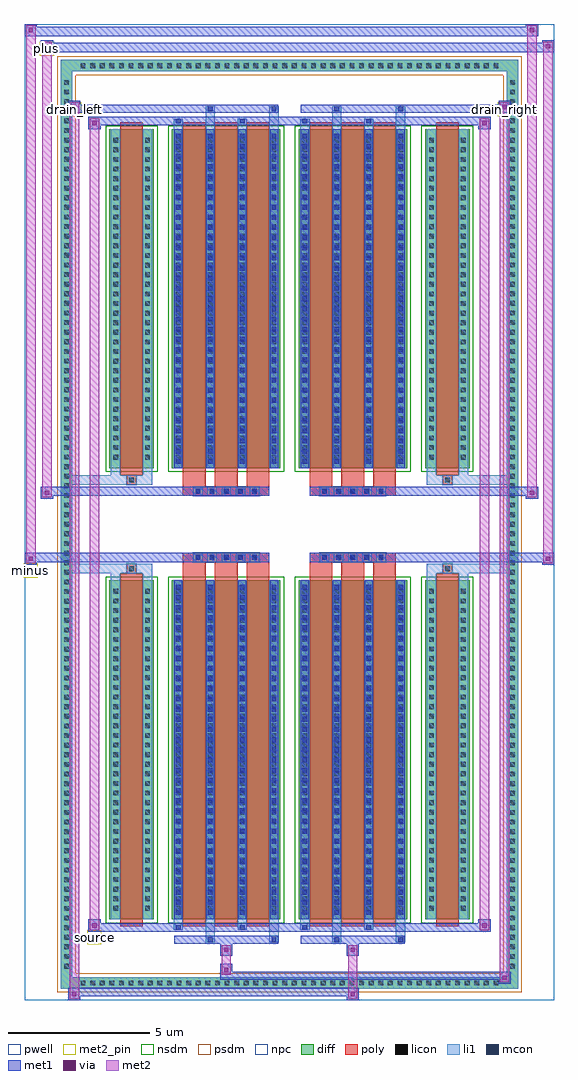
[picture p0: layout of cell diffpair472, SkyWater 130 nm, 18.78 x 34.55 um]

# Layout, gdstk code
import gdstk
lib = gdstk.Library(unit=1e-6, precision=5e-09)
def R(c, l, rs):  # rectangles x0, y0, x1, y1
    for r in rs: c.add(gdstk.rectangle(r[:2], r[2:], *l))
def A(c, l, x, y, w, h, nx, ny, dx, dy):  # array of equal rectangles
    R(c, l, [(x+i*dx, y+j*dy, x+i*dx+w, y+j*dy+h) for i in range(nx) for j in range(ny)])
def P(c, l, *ps):  # polygons
    for p in ps: c.add(gdstk.Polygon(p, *l))
pwell = (64, 44)
diff = (65, 20)
poly = (66, 20)
licon = (66, 44)
li1 = (67, 20)
mcon = (67, 44)
met1 = (68, 20)
via = (68, 44)
met2_pin = (69, 16)
met2 = (69, 20)
nsdm = (93, 44)
psdm = (94, 20)
npc = (95, 20)

diffpair472 = lib.new_cell('diffpair472')
R(diffpair472, pwell, [(-9.37,-16.84,9.37,17.71), (-6.69,-15.03,-0.01,-0.805), (0.01,-15.03,6.69,-0.805), (-6.69,0.805,-0.01,15.03), (0.01,0.805,6.69,15.03)])
A(diffpair472, diff, -7.515, -16.44, 0.41, 0.41, 44, 2, 0.34, 32.47)
A(diffpair472, diff, -8.1, -15.845, 0.41, 0.41, 1, 93, 0, 0.34)
A(diffpair472, diff, 7.69, -15.845, 0.41, 0.41, 1, 93, 0, 0.34)
R(diffpair472, diff, [(-7.515,-16.44,7.515,-16.03), (-8.1,-15.845,-7.69,15.845), (7.69,-15.845,8.1,15.845), (-6.38,-13.985,-4.8,-1.985), (-4.16,-13.985,-0.32,-1.985), (0.32,-13.985,4.16,-1.985), (4.8,-13.985,6.38,-1.985), (-6.38,1.985,-4.8,13.985), (-4.16,1.985,-0.32,13.985), (0.32,1.985,4.16,13.985), (4.8,1.985,6.38,13.985), (-7.515,16.03,7.515,16.44)])
P(diffpair472, diff, [(8.1,16.44),(-8.1,16.44),(-8.1,-16.03),(-7.69,-16.03),(-7.69,16.03),(7.69,16.03),(7.69,-16.03),(-7.69,-16.03),(-8.1,-16.03),(-8.1,-16.44),(8.1,-16.44)])
A(diffpair472, poly, -3.77, -14.235, 0.8, 12.5, 3, 2, 1.13, 15.97)
A(diffpair472, poly, 0.71, -14.235, 0.8, 12.5, 3, 2, 1.13, 15.97)
A(diffpair472, poly, -3.77, -1.735, 0.8, 0.4, 3, 2, 1.13, 3.07)
A(diffpair472, poly, 0.71, -1.735, 0.8, 0.4, 3, 2, 1.13, 3.07)
A(diffpair472, poly, -3.405, -1.335, 0.33, 0.33, 5, 2, 0.5, 2.34)
A(diffpair472, poly, 1.075, -1.335, 0.33, 0.33, 5, 2, 0.5, 2.34)
R(diffpair472, poly, [(-5.99,-14.235,-5.19,-1.735), (5.19,-14.235,5.99,-1.735), (-5.755,-1.735,-5.425,-1.405), (-5.755,-1.735,-5.425,-1.405), (5.425,-1.735,5.755,-1.405), (5.425,-1.735,5.755,-1.405), (-3.77,-1.335,-0.71,-1.005), (0.71,-1.335,3.77,-1.005), (-3.77,1.005,-0.71,1.335), (0.71,1.005,3.77,1.335), (-5.755,1.405,-5.425,1.735), (-5.755,1.405,-5.425,1.735), (5.425,1.405,5.755,1.735), (5.425,1.405,5.755,1.735), (-5.99,1.735,-5.19,14.235), (5.19,1.735,5.99,14.235)])
A(diffpair472, licon, -7.395, -16.32, 0.17, 0.17, 44, 2, 0.34, 32.47)
A(diffpair472, licon, -7.98, -15.725, 0.17, 0.17, 1, 93, 0, 0.34)
A(diffpair472, licon, 7.81, -15.725, 0.17, 0.17, 1, 93, 0, 0.34)
A(diffpair472, licon, -6.24, -13.68, 0.17, 0.17, 1, 34, 0, 0.34)
A(diffpair472, licon, -5.11, -13.68, 0.17, 0.17, 1, 34, 0, 0.34)
A(diffpair472, licon, -4.02, -13.68, 0.17, 0.17, 4, 34, 1.13, 0.34)
A(diffpair472, licon, 0.46, -13.68, 0.17, 0.17, 4, 34, 1.13, 0.34)
A(diffpair472, licon, 4.94, -13.68, 0.17, 0.17, 1, 34, 0, 0.34)
A(diffpair472, licon, 6.07, -13.68, 0.17, 0.17, 1, 34, 0, 0.34)
A(diffpair472, licon, -3.325, -1.255, 0.17, 0.17, 5, 2, 0.5, 2.34)
A(diffpair472, licon, 1.155, -1.255, 0.17, 0.17, 5, 2, 0.5, 2.34)
A(diffpair472, licon, -6.24, 2.29, 0.17, 0.17, 1, 34, 0, 0.34)
A(diffpair472, licon, -5.11, 2.29, 0.17, 0.17, 1, 34, 0, 0.34)
A(diffpair472, licon, -4.02, 2.29, 0.17, 0.17, 4, 34, 1.13, 0.34)
A(diffpair472, licon, 0.46, 2.29, 0.17, 0.17, 4, 34, 1.13, 0.34)
A(diffpair472, licon, 4.94, 2.29, 0.17, 0.17, 1, 34, 0, 0.34)
A(diffpair472, licon, 6.07, 2.29, 0.17, 0.17, 1, 34, 0, 0.34)
R(diffpair472, licon, [(-5.675,-1.655,-5.505,-1.485), (5.505,-1.655,5.675,-1.485), (-5.675,1.485,-5.505,1.655), (5.505,1.485,5.675,1.655)])
A(diffpair472, li1, -7.475, -16.4, 0.33, 0.33, 44, 2, 0.34, 32.47)
A(diffpair472, li1, -8.06, -15.805, 0.33, 0.33, 1, 93, 0, 0.34)
A(diffpair472, li1, 7.73, -15.805, 0.33, 0.33, 1, 93, 0, 0.34)
A(diffpair472, li1, -4.1, -13.985, 0.33, 12, 4, 2, 1.13, 15.97)
A(diffpair472, li1, 0.38, -13.985, 0.33, 12, 4, 2, 1.13, 15.97)
A(diffpair472, li1, -4.02, -13.83, 0.17, 0.17, 4, 33, 1.13, 0.36)
A(diffpair472, li1, -4.02, -13.83, 0.17, 11.69, 4, 2, 1.13, 15.97)
A(diffpair472, li1, 0.46, -13.83, 0.17, 0.17, 4, 33, 1.13, 0.36)
A(diffpair472, li1, 0.46, -13.83, 0.17, 11.69, 4, 2, 1.13, 15.97)
A(diffpair472, li1, -6.32, -13.76, 0.33, 0.33, 1, 34, 0, 0.34)
A(diffpair472, li1, -5.19, -13.76, 0.33, 0.33, 1, 34, 0, 0.34)
A(diffpair472, li1, -4.1, -13.76, 0.33, 0.33, 4, 34, 1.13, 0.34)
A(diffpair472, li1, 0.38, -13.76, 0.33, 0.33, 4, 34, 1.13, 0.34)
A(diffpair472, li1, 4.86, -13.76, 0.33, 0.33, 1, 34, 0, 0.34)
A(diffpair472, li1, 5.99, -13.76, 0.33, 0.33, 1, 34, 0, 0.34)
A(diffpair472, li1, -3.405, -1.335, 0.33, 0.33, 5, 2, 0.5, 2.34)
A(diffpair472, li1, 1.075, -1.335, 0.33, 0.33, 5, 2, 0.5, 2.34)
A(diffpair472, li1, -4.02, 2.14, 0.17, 0.17, 4, 33, 1.13, 0.36)
A(diffpair472, li1, 0.46, 2.14, 0.17, 0.17, 4, 33, 1.13, 0.36)
A(diffpair472, li1, -6.32, 2.21, 0.33, 0.33, 1, 34, 0, 0.34)
A(diffpair472, li1, -5.19, 2.21, 0.33, 0.33, 1, 34, 0, 0.34)
A(diffpair472, li1, -4.1, 2.21, 0.33, 0.33, 4, 34, 1.13, 0.34)
A(diffpair472, li1, 0.38, 2.21, 0.33, 0.33, 4, 34, 1.13, 0.34)
A(diffpair472, li1, 4.86, 2.21, 0.33, 0.33, 1, 34, 0, 0.34)
A(diffpair472, li1, 5.99, 2.21, 0.33, 0.33, 1, 34, 0, 0.34)
R(diffpair472, li1, [(-8.1,-16.44,-7.69,-16.03), (-8.1,-16.44,-7.69,-16.03), (-7.69,-16.44,7.69,-16.03), (7.69,-16.44,8.1,-16.03), (7.69,-16.44,8.1,-16.03), (-8.1,-16.03,-7.69,16.03), (7.69,-16.03,8.1,16.03), (-2.97,-14.79,-2.64,-13.985), (-2.89,-14.79,-2.72,-14.62), (-0.71,-14.79,-0.38,-13.985), (-0.63,-14.79,-0.46,-14.62), (1.51,-14.79,1.84,-13.985), (1.59,-14.79,1.76,-14.62), (3.77,-14.79,4.1,-13.985), (3.85,-14.79,4.02,-14.62), (-4.1,-14.36,-3.77,-13.985), (-4.02,-14.36,-3.85,-14.19), (-1.84,-14.36,-1.51,-13.985), (-1.76,-14.36,-1.59,-14.19), (0.38,-14.36,0.71,-13.985), (0.46,-14.36,0.63,-14.19), (2.64,-14.36,2.97,-13.985), (2.72,-14.36,2.89,-14.19), (-6.32,-13.985,-5.99,-1.985), (-5.19,-13.985,-4.86,-1.985), (4.86,-13.985,5.19,-1.985), (5.99,-13.985,6.32,-1.985), (-6.32,-1.985,-5.99,-1.405), (-5.19,-1.985,-4.86,-1.405), (4.86,-1.985,5.19,-1.405), (5.99,-1.985,6.32,-1.405), (-8.1,-1.735,-5.755,-1.405), (-6.32,-1.735,-5.755,-1.405), (-5.755,-1.735,-5.425,-1.405), (-5.425,-1.735,-4.86,-1.405), (4.86,-1.735,5.425,-1.405), (5.425,-1.735,5.755,-1.405), (5.425,-1.735,8.1,-1.405), (5.755,-1.735,6.32,-1.405), (-8.1,1.405,-5.755,1.735), (-6.32,1.405,-5.755,1.735), (-6.32,1.405,-5.99,1.985), (-5.755,1.405,-5.425,1.735), (-5.425,1.405,-4.86,1.735), (-5.19,1.405,-4.86,1.985), (4.86,1.405,5.425,1.735), (4.86,1.405,5.19,1.985), (5.425,1.405,5.755,1.735), (5.425,1.405,8.1,1.735), (5.755,1.405,6.32,1.735), (5.99,1.405,6.32,1.985), (-6.32,1.985,-5.99,13.985), (-5.19,1.985,-4.86,13.985), (4.86,1.985,5.19,13.985), (5.99,1.985,6.32,13.985), (-4.1,13.985,-3.77,14.36), (-2.97,13.985,-2.64,14.79), (-1.84,13.985,-1.51,14.36), (-0.71,13.985,-0.38,14.79), (0.38,13.985,0.71,14.36), (1.51,13.985,1.84,14.79), (2.64,13.985,2.97,14.36), (3.77,13.985,4.1,14.79), (-4.02,14.19,-3.85,14.36), (-1.76,14.19,-1.59,14.36), (0.46,14.19,0.63,14.36), (2.72,14.19,2.89,14.36), (-2.89,14.62,-2.72,14.79), (-0.63,14.62,-0.46,14.79), (1.59,14.62,1.76,14.79), (3.85,14.62,4.02,14.79), (-8.1,16.03,-7.69,16.44), (-8.1,16.03,-7.69,16.44), (-7.69,16.03,7.69,16.44), (7.69,16.03,8.1,16.44), (7.69,16.03,8.1,16.44)])
A(diffpair472, mcon, -4.02, -13.83, 0.17, 0.17, 4, 33, 1.13, 0.36)
A(diffpair472, mcon, 0.46, -13.83, 0.17, 0.17, 4, 33, 1.13, 0.36)
A(diffpair472, mcon, -3.325, -1.255, 0.17, 0.17, 5, 2, 0.5, 2.34)
A(diffpair472, mcon, 1.155, -1.255, 0.17, 0.17, 5, 2, 0.5, 2.34)
A(diffpair472, mcon, -4.02, 2.14, 0.17, 0.17, 4, 33, 1.13, 0.36)
A(diffpair472, mcon, 0.46, 2.14, 0.17, 0.17, 4, 33, 1.13, 0.36)
R(diffpair472, mcon, [(-2.89,-14.79,-2.72,-14.62), (-0.63,-14.79,-0.46,-14.62), (1.59,-14.79,1.76,-14.62), (3.85,-14.79,4.02,-14.62), (-4.02,-14.36,-3.85,-14.19), (-1.76,-14.36,-1.59,-14.19), (0.46,-14.36,0.63,-14.19), (2.72,-14.36,2.89,-14.19), (-4.02,14.19,-3.85,14.36), (-1.76,14.19,-1.59,14.36), (0.46,14.19,0.63,14.36), (2.72,14.19,2.89,14.36), (-2.89,14.62,-2.72,14.79), (-0.63,14.62,-0.46,14.79), (1.59,14.62,1.76,14.79), (3.85,14.62,4.02,14.79)])
A(diffpair472, met1, -4.08, -13.985, 0.29, 12, 4, 2, 1.13, 15.97)
A(diffpair472, met1, 0.4, -13.985, 0.29, 12, 4, 2, 1.13, 15.97)
A(diffpair472, met1, -4.08, -13.89, 0.29, 0.29, 4, 33, 1.13, 0.36)
A(diffpair472, met1, 0.4, -13.89, 0.29, 0.29, 4, 33, 1.13, 0.36)
A(diffpair472, met1, -3.385, -1.315, 0.29, 0.29, 5, 2, 0.5, 2.34)
A(diffpair472, met1, 1.095, -1.315, 0.29, 0.29, 5, 2, 0.5, 2.34)
A(diffpair472, met1, -4.08, 2.08, 0.29, 0.29, 4, 33, 1.13, 0.36)
A(diffpair472, met1, 0.4, 2.08, 0.29, 0.29, 4, 33, 1.13, 0.36)
R(diffpair472, met1, [(-7.83,-16.84,-7.4,-16.41), (2.025,-16.84,2.455,-16.41), (-7.83,-16.7,2.455,-16.41), (7.4,-16.27,7.83,-15.84), (-2.455,-16.13,7.83,-15.84), (-2.455,-15.99,-2.025,-15.56), (-2.455,-15.28,-2.025,-14.85), (2.025,-15.28,2.455,-14.85), (-4.08,-14.85,-0.4,-14.56), (-2.95,-14.85,-2.66,-14.56), (-0.69,-14.85,-0.4,-14.56), (0.4,-14.85,4.08,-14.56), (1.53,-14.85,1.82,-14.56), (3.79,-14.85,4.08,-14.56), (-7.12,-14.42,-6.69,-13.99), (-7.12,-14.42,-4.08,-14.13), (-4.08,-14.42,-3.79,-14.13), (-4.08,-14.42,-0.4,-14.13), (-1.82,-14.42,-1.53,-14.13), (-0.4,-14.42,0.4,-14.13), (0.4,-14.42,0.69,-14.13), (0.4,-14.42,4.08,-14.13), (2.66,-14.42,2.95,-14.13), (4.08,-14.42,7.12,-14.13), (6.69,-14.42,7.12,-13.99), (-9.37,-1.435,-8.94,-1.005), (8.94,-1.435,9.37,-1.005), (-9.37,-1.335,-0.71,-1.005), (-3.77,-1.335,-0.71,-1.005), (0.71,-1.335,3.77,-1.005), (0.71,-1.335,9.37,-1.005), (-8.8,0.905,-8.37,1.335), (8.37,0.905,8.8,1.335), (-8.8,1.005,-3.77,1.335), (-3.77,1.005,-0.71,1.335), (0.71,1.005,3.77,1.335), (3.77,1.005,8.8,1.335), (-7.12,13.99,-6.69,14.42), (6.69,13.99,7.12,14.42), (-7.12,14.13,-4.08,14.42), (-4.08,14.13,-3.79,14.42), (-4.08,14.13,-0.4,14.42), (-1.82,14.13,-1.53,14.42), (-0.4,14.13,0.4,14.42), (0.4,14.13,0.69,14.42), (0.4,14.13,4.08,14.42), (2.66,14.13,2.95,14.42), (4.08,14.13,7.12,14.42), (-7.83,14.56,-7.4,14.99), (-7.83,14.56,-4.08,14.85), (-4.08,14.56,-0.4,14.85), (-2.95,14.56,-2.66,14.85), (-0.69,14.56,-0.4,14.85), (0.4,14.56,4.08,14.85), (1.53,14.56,1.82,14.85), (3.79,14.56,4.08,14.85), (4.08,14.56,7.83,14.85), (7.4,14.56,7.83,14.99), (-8.8,16.71,-8.37,17.14), (-8.8,16.71,-6.69,17.04), (-6.69,16.71,6.69,17.04), (6.69,16.71,9.37,17.04), (8.94,16.71,9.37,17.14), (-9.37,17.28,-8.94,17.71), (-9.37,17.28,-6.69,17.61), (-6.69,17.28,6.69,17.61), (6.69,17.28,8.8,17.61), (8.37,17.28,8.8,17.71)])
R(diffpair472, via, [(-7.69,-16.7,-7.54,-16.55), (2.165,-16.7,2.315,-16.55), (7.54,-16.13,7.69,-15.98), (-2.315,-15.85,-2.165,-15.7), (-2.315,-15.14,-2.165,-14.99), (2.165,-15.14,2.315,-14.99), (-6.98,-14.28,-6.83,-14.13), (6.83,-14.28,6.98,-14.13), (-9.23,-1.295,-9.08,-1.145), (9.08,-1.295,9.23,-1.145), (-8.66,1.045,-8.51,1.195), (8.51,1.045,8.66,1.195), (-6.98,14.13,-6.83,14.28), (6.83,14.13,6.98,14.28), (-7.69,14.7,-7.54,14.85), (7.54,14.7,7.69,14.85), (-8.66,16.85,-8.51,17), (9.08,16.85,9.23,17), (-9.23,17.42,-9.08,17.57), (8.51,17.42,8.66,17.57)])
R(diffpair472, met2_pin, [(-7.155,-14.87,-6.655,-14.37), (-9.405,-1.885,-8.905,-1.385), (-7.865,14.44,-7.365,14.94), (7.365,14.44,7.865,14.94), (-8.835,16.59,-8.335,17.09)])
R(diffpair472, met2, [(-7.78,-16.79,-7.45,-16.46), (-7.78,-16.79,-7.45,14.94), (2.075,-16.79,2.405,-16.46), (2.075,-16.46,2.405,-15.23), (7.45,-16.22,7.78,-15.89), (7.45,-16.22,7.78,14.94), (-2.405,-15.94,-2.075,-15.61), (-2.405,-15.61,-2.075,-15.23), (-2.405,-15.23,-2.075,-14.9), (2.075,-15.23,2.405,-14.9), (-7.07,-14.37,-6.74,-14.04), (-7.07,-14.37,-6.74,14.37), (6.74,-14.37,7.07,-14.04), (6.74,-14.37,7.07,14.37), (-9.32,-1.385,-8.99,-1.055), (-9.32,-1.385,-8.99,17.66), (8.99,-1.385,9.32,-1.055), (8.99,-1.385,9.32,17.09), (-8.75,0.955,-8.42,1.285), (-8.75,0.955,-8.42,17.09), (8.42,0.955,8.75,1.285), (8.42,0.955,8.75,17.66), (-7.07,14.04,-6.74,14.37), (6.74,14.04,7.07,14.37), (-7.78,14.61,-7.45,14.94), (7.45,14.61,7.78,14.94), (-8.75,16.76,-8.42,17.09), (8.99,16.76,9.32,17.09), (-9.32,17.33,-8.99,17.66), (8.42,17.33,8.75,17.66)])
P(diffpair472, met2, [(9.32,-1.385),(9.32,-1.385),(9.32,-1.055),(9.32,-1.055)],
  [(9.32,16.76),(9.32,16.76),(9.32,17.09),(9.32,17.09)],
  [(-8.99,-1.385),(-8.99,-1.385),(-8.99,-1.055),(-8.99,-1.055)],
  [(-8.99,17.33),(-8.99,17.33),(-8.99,17.66),(-8.99,17.66)],
  [(8.75,0.955),(8.75,0.955),(8.75,1.285),(8.75,1.285)],
  [(8.75,17.33),(8.75,17.33),(8.75,17.66),(8.75,17.66)],
  [(-8.42,0.955),(-8.42,0.955),(-8.42,1.285),(-8.42,1.285)],
  [(-8.42,16.76),(-8.42,16.76),(-8.42,17.09),(-8.42,17.09)],
  [(-7.45,-16.79),(-7.45,-16.79),(-7.45,-16.46),(-7.45,-16.46)],
  [(-7.45,14.61),(-7.45,14.61),(-7.45,14.94),(-7.45,14.94)],
  [(7.78,-16.22),(7.78,-16.22),(7.78,-15.89),(7.78,-15.89)],
  [(7.78,14.61),(7.78,14.61),(7.78,14.94),(7.78,14.94)],
  [(-6.74,-14.37),(-6.74,-14.37),(-6.74,-14.04),(-6.74,-14.04)],
  [(-6.74,14.04),(-6.74,14.04),(-6.74,14.37),(-6.74,14.37)],
  [(7.07,-14.37),(7.07,-14.37),(7.07,-14.04),(7.07,-14.04)],
  [(7.07,14.04),(7.07,14.04),(7.07,14.37),(7.07,14.37)])
R(diffpair472, nsdm, [(-6.51,-14.115,-4.67,-1.855), (-4.29,-14.115,-0.19,-1.855), (0.19,-14.115,4.29,-1.855), (4.67,-14.115,6.51,-1.855), (-6.51,1.855,-4.67,14.115), (-4.29,1.855,-0.19,14.115), (0.19,1.855,4.29,14.115), (4.67,1.855,6.51,14.115)])
P(diffpair472, psdm, [(8.23,16.57),(-8.23,16.57),(-8.23,-15.9),(-7.56,-15.9),(-7.56,15.9),(7.56,15.9),(7.56,-15.9),(-7.56,-15.9),(-8.23,-15.9),(-8.23,-16.57),(8.23,-16.57)])
A(diffpair472, npc, -3.425, -1.355, 0.37, 0.37, 5, 2, 0.5, 2.34)
A(diffpair472, npc, 1.055, -1.355, 0.37, 0.37, 5, 2, 0.5, 2.34)
R(diffpair472, npc, [(-5.775,-1.755,-5.405,-1.385), (5.405,-1.755,5.775,-1.385), (-3.425,-1.355,-2.555,-0.985), (-3.425,-1.355,-2.555,-0.985), (-2.925,-1.355,-2.055,-0.985), (-2.925,-1.355,-2.055,-0.985), (-2.425,-1.355,-1.555,-0.985), (-2.425,-1.355,-1.555,-0.985), (-1.925,-1.355,-1.055,-0.985), (-1.925,-1.355,-1.055,-0.985), (1.055,-1.355,1.925,-0.985), (1.055,-1.355,1.925,-0.985), (1.555,-1.355,2.425,-0.985), (1.555,-1.355,2.425,-0.985), (2.055,-1.355,2.925,-0.985), (2.055,-1.355,2.925,-0.985), (2.555,-1.355,3.425,-0.985), (2.555,-1.355,3.425,-0.985), (-3.425,0.985,-2.555,1.355), (-3.425,0.985,-2.555,1.355), (-2.925,0.985,-2.055,1.355), (-2.925,0.985,-2.055,1.355), (-2.425,0.985,-1.555,1.355), (-2.425,0.985,-1.555,1.355), (-1.925,0.985,-1.055,1.355), (-1.925,0.985,-1.055,1.355), (1.055,0.985,1.925,1.355), (1.055,0.985,1.925,1.355), (1.555,0.985,2.425,1.355), (1.555,0.985,2.425,1.355), (2.055,0.985,2.925,1.355), (2.055,0.985,2.925,1.355), (2.555,0.985,3.425,1.355), (2.555,0.985,3.425,1.355), (-5.775,1.385,-5.405,1.755), (5.405,1.385,5.775,1.755)])
diffpair472.add(gdstk.Label('minus', (-9.155,-1.635), layer=69, texttype=5))
diffpair472.add(gdstk.Label('drain_right', (7.615,14.69), layer=69, texttype=5))
diffpair472.add(gdstk.Label('drain_left', (-7.615,14.69), layer=69, texttype=5))
diffpair472.add(gdstk.Label('source', (-6.905,-14.62), layer=69, texttype=5))
diffpair472.add(gdstk.Label('plus', (-8.585,16.84), layer=69, texttype=5))

lib.write_gds('diffpair472.gds')
